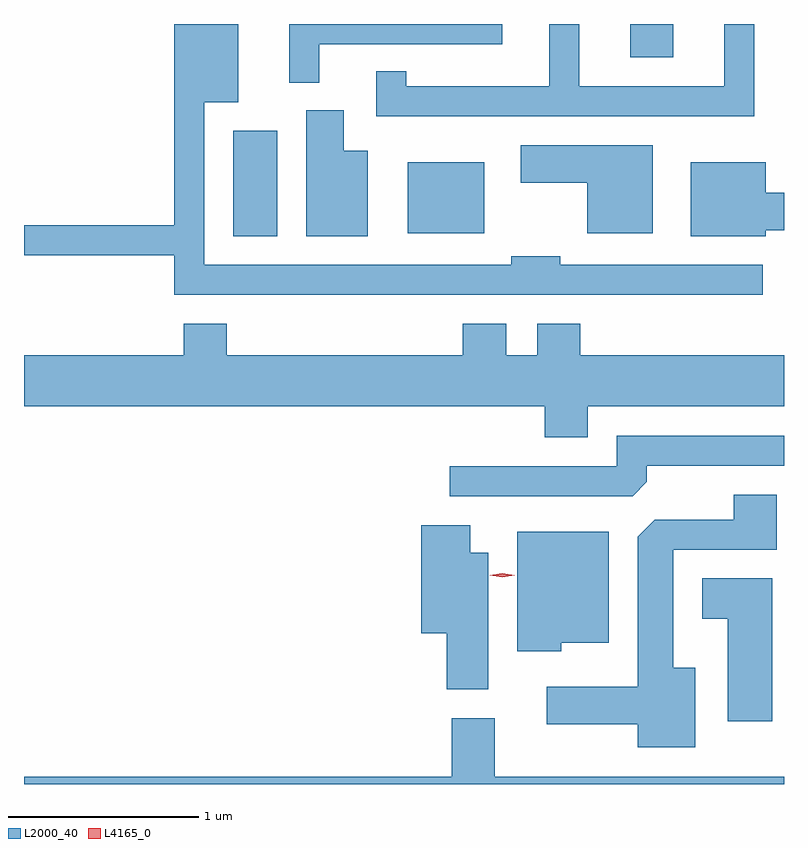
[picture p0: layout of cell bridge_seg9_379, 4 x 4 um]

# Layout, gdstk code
import gdstk
lib = gdstk.Library(unit=1e-6, precision=1e-09)
def R(c, l, rs):  # rectangles x0, y0, x1, y1
    for r in rs: c.add(gdstk.rectangle(r[:2], r[2:], *l))
def P(c, l, *ps):  # polygons
    for p in ps: c.add(gdstk.Polygon(p, *l))
L2000_40 = (2000, 40)
L4165_0 = (4165, 0)

bridge_seg9_379 = lib.new_cell('bridge_seg9_379')
R(bridge_seg9_379, L2000_40, [(970.451,1966.071,970.684,1966.624), (971.371,1966.086,971.774,1966.459), (972.541,1967.011,972.769,1967.187)])
P(bridge_seg9_379, L2000_40, [(970.904,1967.081),(971.868,1967.081),(971.868,1967.187),(970.746,1967.187),(970.746,1966.878),(970.904,1966.878)],
  [(973.238,1965.919),(972.174,1965.919),(972.174,1965.964),(971.916,1965.964),(971.916,1965.919),(970.299,1965.919),(970.299,1966.776),(970.479,1966.776),(970.479,1967.187),(970.141,1967.187),(970.141,1966.129),(969.351,1966.129),(969.351,1965.971),(970.141,1965.971),(970.141,1965.761),(973.238,1965.761)],
  [(973.194,1967.187),(973.036,1967.187),(973.036,1966.859),(972.274,1966.859),(972.274,1967.187),(972.116,1967.187),(972.116,1966.859),(971.364,1966.859),(971.364,1966.938),(971.206,1966.938),(971.206,1966.701),(973.194,1966.701)],
  [(971.159,1966.519),(971.034,1966.519),(971.034,1966.734),(970.836,1966.734),(970.836,1966.071),(971.159,1966.071)],
  [(972.659,1966.549),(971.966,1966.549),(971.966,1966.351),(972.316,1966.351),(972.316,1966.086),(972.659,1966.086)],
  [(973.254,1966.101),(973.351,1966.101),(973.351,1966.299),(973.254,1966.299),(973.254,1966.459),(972.861,1966.459),(972.861,1966.071),(973.254,1966.071)],
  [(972.319,1965.176),(973.351,1965.176),(973.351,1965.444),(972.279,1965.444),(972.279,1965.609),(972.051,1965.609),(972.051,1965.444),(971.889,1965.444),(971.889,1965.609),(971.661,1965.609),(971.661,1965.444),(970.419,1965.444),(970.419,1965.609),(970.191,1965.609),(970.191,1965.444),(969.351,1965.444),(969.351,1965.176),(972.091,1965.176),(972.091,1965.011),(972.319,1965.011)],
  [(972.629,1964.777),(972.629,1964.861),(973.351,1964.861),(973.351,1965.019),(972.471,1965.019),(972.471,1964.859),(971.593,1964.859),(971.593,1964.701),(972.554,1964.701)],
  [(972.884,1963.799),(972.769,1963.799),(972.769,1964.421),(973.314,1964.421),(973.314,1964.709),(973.086,1964.709),(973.086,1964.579),(972.672,1964.579),(972.581,1964.489),(972.581,1963.699),(972.101,1963.699),(972.101,1963.501),(972.581,1963.501),(972.581,1963.381),(972.884,1963.381)],
  [(971.794,1964.404),(971.699,1964.404),(971.699,1964.549),(971.441,1964.549),(971.441,1963.981),(971.576,1963.981),(971.576,1963.686),(971.794,1963.686)],
  [(972.179,1963.931),(972.429,1963.931),(972.429,1964.514),(971.946,1964.514),(971.946,1963.886),(972.179,1963.886)],
  [(973.289,1964.269),(972.921,1964.269),(972.921,1964.056),(973.056,1964.056),(973.056,1963.516),(973.289,1963.516)],
  [(973.351,1963.224),(971.829,1963.224),(971.829,1963.534),(971.601,1963.534),(971.601,1963.224),(969.351,1963.224),(969.351,1963.187),(973.351,1963.187)])
P(bridge_seg9_379, L4165_0, [(971.869,1964.276),(971.803,1964.286),(971.803,1964.286),(971.803,1964.287),(971.869,1964.296),(971.935,1964.287),(971.935,1964.286),(971.935,1964.286)])

lib.write_gds('bridge_seg9_379.gds')
